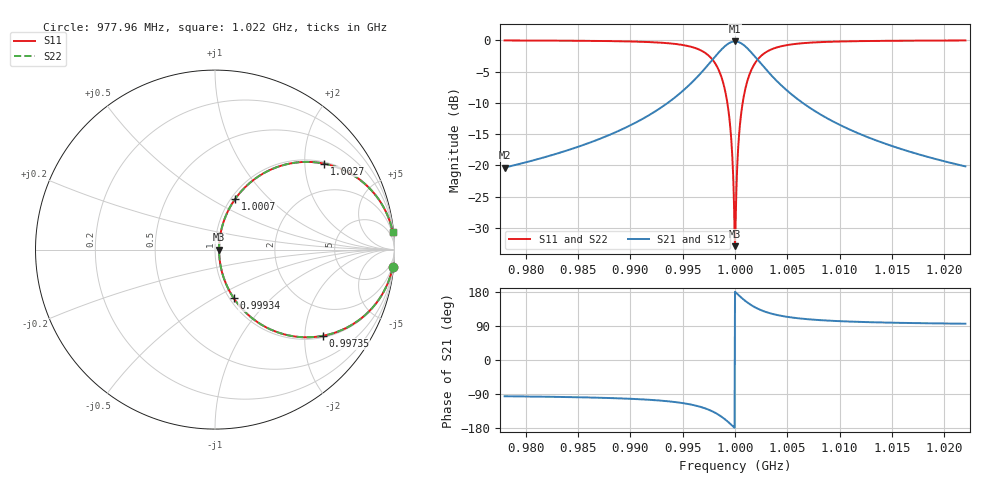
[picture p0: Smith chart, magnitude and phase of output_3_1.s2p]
! File generated for n1 = 3, n2 = 1
! b1 = 21.544347
! b2 = 21.544347
! Q0 = 10000.000000
! f0 = 1000000000.000000
! n = 1001
! rel_span = 10.000000
# Hz S RI R 50
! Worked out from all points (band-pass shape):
!   1001 points, 977.96 MHz to 1.022 GHz, reference 50 ohm
!   highest |S21| = -0.20 dB at 1 GHz (marker M1); lowest = -20.3 dB at 977.96 MHz (marker M2)
!   |S21| within 3 dB of the highest: 997.8032 MHz to 1.002202 GHz (4.398 MHz wide, 0.44 % of centre)
!   lowest |S11| = -32.9 dB at 1 GHz (marker M3), VSWR 1.05, Z = 52.3 + j0 ohm
!   |S11| at or under -10 dB: 999.267 MHz to 1.000734 GHz (1.467 MHz wide, 0.147 % of centre)
!   |S22| runs from -32.9 to 0.0 dB; largest |S21 - S12| = 0
!   S11 on the Smith chart (normalised r, x): 977.96 MHz: 1, -21; 997.35 MHz: 1.05, -2.46; 999.34 MHz: 1.05, -0.61; 1.0007 GHz: 1.05, +0.65; 1.0027 GHz: 1.05, +2.49; 1.022 GHz: 1, +20
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9.779557e8  0.9905 -0.0957  -0.00946 -0.0957  -0.00946 -0.0957  0.9905 -0.0957
9.853185e8  0.9788 -0.1425  -0.0212 -0.1425  -0.0212 -0.1425  0.9788 -0.1425
9.926813e8  0.9193 -0.2691  -0.0807 -0.2691  -0.0807 -0.2691  0.9193 -0.2691
9.95503e8  0.8113 -0.3857  -0.1887 -0.3857  -0.1887 -0.3857  0.8113 -0.3857
9.96517e8  0.7212 -0.4413  -0.2788 -0.4413  -0.2788 -0.4413  0.7212 -0.4413
9.973547e8  0.6001 -0.4805  -0.3999 -0.4805  -0.3999 -0.4805  0.6001 -0.4805
9.985892e8  0.307 -0.4439  -0.693 -0.4439  -0.693 -0.4439  0.307 -0.4439
9.9903e8  0.1813 -0.3604  -0.8187 -0.3604  -0.8187 -0.3604  0.1813 -0.3604
9.993387e8  0.1034 -0.2691  -0.8966 -0.2691  -0.8966 -0.2691  0.1034 -0.2691
9.996032e8  0.0534 -0.1704  -0.9466 -0.1704  -0.9466 -0.1704  0.0534 -0.1704
9.998677e8  0.0262 -0.0584  -0.9738 -0.0584  -0.9738 -0.0584  0.0262 -0.0584
1e9  0.0227 0  -0.9773 0  -0.9773 0  0.0227 0
1.000132e9  0.0262 0.0584  -0.9738 0.0584  -0.9738 0.0584  0.0262 0.0584
1.000397e9  0.0533 0.1704  -0.9467 0.1704  -0.9467 0.1704  0.0533 0.1704
1.000705e9  0.1134 0.2836  -0.8866 0.2836  -0.8866 0.2836  0.1134 0.2836
1.001014e9  0.1932 0.3709  -0.8068 0.3709  -0.8068 0.3709  0.1932 0.3709
1.001455e9  0.3189 0.4492  -0.6811 0.4492  -0.6811 0.4492  0.3189 0.4492
1.002689e9  0.6066 0.4793  -0.3934 0.4793  -0.3934 0.4793  0.6066 0.4793
1.004541e9  0.8129 0.3845  -0.1871 0.3845  -0.1871 0.3845  0.8129 0.3845
1.007363e9  0.9191 0.2694  -0.0809 0.2694  -0.0809 0.2694  0.9191 0.2694
1.014726e9  0.9783 0.1441  -0.0217 0.1441  -0.0217 0.1441  0.9783 0.1441
1.022044e9  0.9901 0.0978  -0.00989 0.0978  -0.00989 0.0978  0.9901 0.0978
